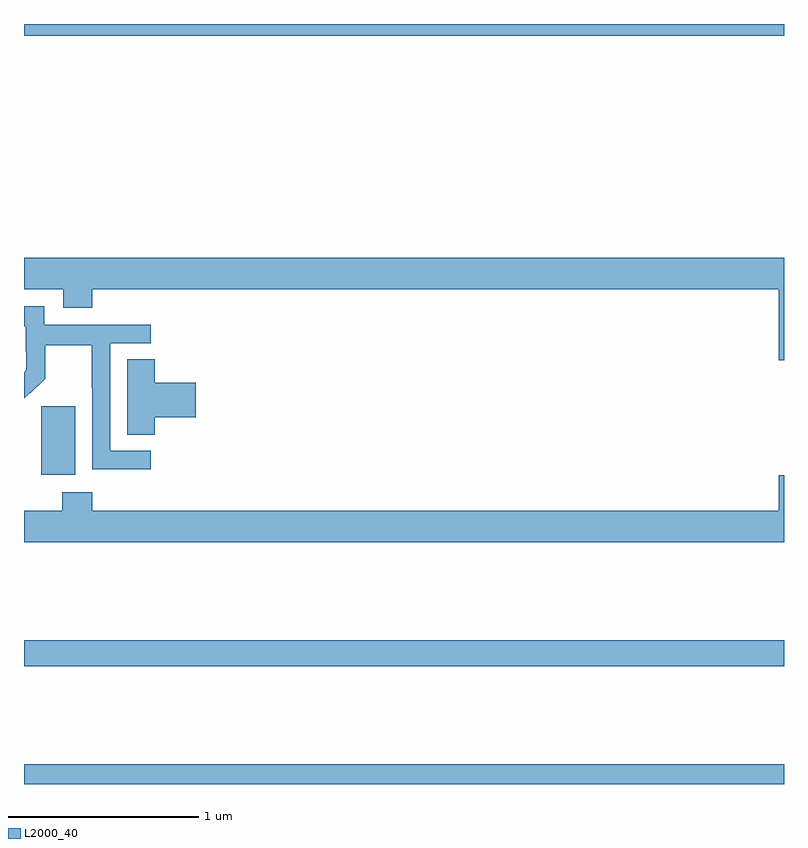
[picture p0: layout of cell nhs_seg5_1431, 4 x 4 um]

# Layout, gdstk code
import gdstk
lib = gdstk.Library(unit=1e-6, precision=1e-09)
def R(c, l, rs):  # rectangles x0, y0, x1, y1
    for r in rs: c.add(gdstk.rectangle(r[:2], r[2:], *l))
def P(c, l, *ps):  # polygons
    for p in ps: c.add(gdstk.Polygon(p, *l))
L2000_40 = (2000, 40)

nhs_seg5_1431 = lib.new_cell('nhs_seg5_1431')
R(nhs_seg5_1431, L2000_40, [(197,876.799,201,876.904), (197,877.42,201,877.556), (197.09,878.426,197.269,878.787), (197,880.736,201,880.799)])
P(nhs_seg5_1431, L2000_40, [(201,879.568),(197,879.568),(197,879.404),(197.207,879.404),(197.207,879.305),(197.36,879.305),(197.36,879.404),(200.972,879.404),(200.972,879.03),(201,879.03)],
  [(197.668,878.553),(197.454,878.553),(197.454,879.12),(197.668,879.12),(197.668,879.216),(197.106,879.216),(197.106,879.313),(197,879.313),(197,879.209),(197.01,879.209),(197.01,879.075),(197.012,879.075),(197.012,878.978),(197,878.966),(197,878.828),(197.031,878.859),(197.034,878.856),(197.111,878.933),(197.111,879.108),(197.356,879.108),(197.356,878.884),(197.358,878.884),(197.358,878.455),(197.668,878.455)],
  [(197.687,878.729),(197.905,878.729),(197.905,878.912),(197.687,878.912),(197.687,879.035),(197.543,879.035),(197.543,878.638),(197.687,878.638)],
  [(201,878.425),(200.972,878.425),(200.972,878.236),(197.36,878.236),(197.36,878.335),(197.2,878.335),(197.2,878.236),(197,878.236),(197,878.072),(201,878.072)])

lib.write_gds('nhs_seg5_1431.gds')
